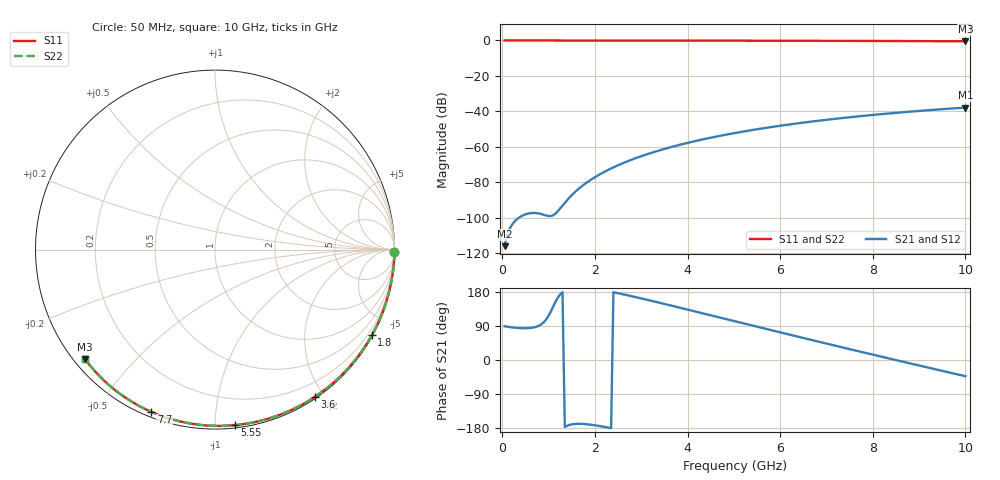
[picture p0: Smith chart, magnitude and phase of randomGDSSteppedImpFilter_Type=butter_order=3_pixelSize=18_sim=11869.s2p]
! freq	dB(S11)	phase(S11)	dB(S12)	phase(S12)
!  dB(S21)	phase(S21)	dB(S22)	phase(S22)
!S-par simulation data
#  GHz  S  DB  R 50
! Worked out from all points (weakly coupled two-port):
!   200 points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, 50 MHz to 10 GHz, reference 50 ohm
!   highest |S21| = -37.86 dB at 10 GHz (marker M1); lowest = -116.0 dB at 50 MHz (marker M2)
!   lowest |S11| = -0.5 dB at 10 GHz (marker M3), VSWR 36.74, Z = 1.54 - j18.3 ohm
!   |S11| at or under -10 dB: nowhere
!   |S22| runs from -0.5 to 0.0 dB; largest |S21 - S12| = 0
!   S11 on the Smith chart (normalised r, x): 50 MHz: open; 1.8 GHz: 0.03, -3.92; 3.6 GHz: 0.02, -1.88; 5.55 GHz: 0.02, -1.12; 7.7 GHz: 0.02, -0.68; 10 GHz: 0.03, -0.37
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0.05  -0.00 -0.8  -116.02 88.9  -116.02 88.9  -0.00 -0.8
0.45  -0.01 -7.3  -98.60 83.8  -98.60 83.8  -0.01 -7.3
0.9  -0.02 -14.5  -98.33 100.2  -98.33 100.2  -0.02 -14.5
1.75  -0.04 -27.9  -81.54 -168.7  -81.54 -168.7  -0.04 -27.9
1.8  -0.04 -28.7  -80.57 -169.2  -80.57 -169.2  -0.04 -28.6
1.85  -0.04 -29.4  -79.65 -169.8  -79.65 -169.8  -0.04 -29.4
2.05  -0.04 -32.5  -76.33 -173.1  -76.33 -173.1  -0.04 -32.5
2.25  -0.05 -35.6  -73.47 -177.5  -73.47 -177.5  -0.05 -35.6
2.55  -0.05 -40.2  -69.81 175.0  -69.81 175.0  -0.05 -40.2
2.95  -0.06 -46.3  -65.74 164.0  -65.74 164.0  -0.06 -46.3
3.4  -0.07 -53.0  -61.94 150.9  -61.94 150.9  -0.07 -53.0
3.6  -0.08 -56.0  -60.45 145.0  -60.45 145.0  -0.08 -55.9
3.9  -0.08 -60.3  -58.40 136.1  -58.40 136.1  -0.08 -60.3
4.3  -0.09 -66.1  -55.96 124.1  -55.96 124.1  -0.09 -66.1
5.05  -0.12 -76.6  -52.07 101.4  -52.07 101.4  -0.12 -76.6
5.55  -0.14 -83.5  -49.87 86.4  -49.87 86.4  -0.14 -83.5
6.1  -0.16 -90.8  -47.73 69.9  -47.73 69.9  -0.16 -90.8
6.7  -0.19 -98.7  -45.68 52.1  -45.68 52.1  -0.19 -98.7
7.7  -0.25 -111.4  -42.77 22.8  -42.77 22.8  -0.25 -111.4
8.35  -0.31 -119.5  -41.16 4.0  -41.16 4.0  -0.31 -119.5
9.2  -0.38 -130.0  -39.33 -20.2  -39.33 -20.2  -0.38 -130.0
10  -0.47 -139.8  -37.86 -42.8  -37.86 -42.8  -0.47 -139.7
